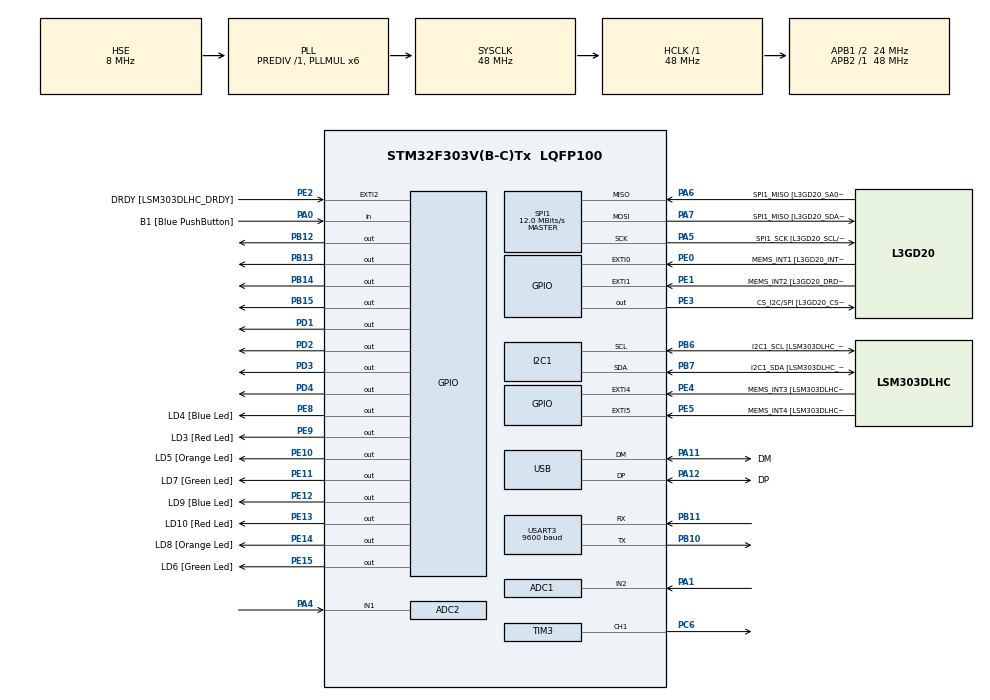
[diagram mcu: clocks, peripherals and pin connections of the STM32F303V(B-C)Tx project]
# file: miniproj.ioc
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ADC1.Channel-0\#ChannelRegularConversion=ADC_CHANNEL_2
ADC1.NbrOfConversionFlag=1
ADC1.Offset-0\#ChannelRegularConversion=0
ADC1.OffsetNumber-0\#ChannelRegularConversion=ADC_OFFSET_NONE
ADC1.Rank-0\#ChannelRegularConversion=1
ADC1.SamplingTime-0\#ChannelRegularConversion=ADC_SAMPLETIME_601CYCLES_5
ADC1.SamplingTimeOPAMP-0\#ChannelRegularConversion=ADC_SAMPLETIME_19CYCLES_5
ADC1.master=1
ADC2.Channel-0\#ChannelRegularConversion=ADC_CHANNEL_1
ADC2.NbrOfConversionFlag=1
ADC2.Offset-0\#ChannelRegularConversion=0
ADC2.OffsetNumber-0\#ChannelRegularConversion=ADC_OFFSET_NONE
ADC2.Rank-0\#ChannelRegularConversion=1
ADC2.SamplingTime-0\#ChannelRegularConversion=ADC_SAMPLETIME_601CYCLES_5
ADC2.SamplingTimeOPAMP-0\#ChannelRegularConversion=ADC_SAMPLETIME_19CYCLES_5
I2C1.Timing-I2C=0x2000090E
Mcu.Family=STM32F3
Mcu.Name=STM32F303V(B-C)Tx
Mcu.Package=LQFP100
NVIC.ADC1_2_IRQn=true\:0\:1\:true\:false\:true\:true\:true\:true
NVIC.PriorityGroup=NVIC_PRIORITYGROUP_2
NVIC.TIM2_IRQn=true\:0\:0\:true\:false\:true\:true\:true\:true
NVIC.TIM4_IRQn=true\:0\:0\:false\:false\:true\:true\:true\:true
NVIC.USART3_IRQn=true\:0\:2\:false\:false\:true\:true\:true\:true
PA0.GPIO_Label=B1 [Blue PushButton]
PA0.Signal=GPIO_Input
PA1.Mode=IN2-Single-Ended
PA1.Signal=ADC1_IN2
PA11.GPIO_Label=DM
PA11.Mode=Device
PA11.Signal=USB_DM
PA12.GPIO_Label=DP
PA12.Mode=Device
PA12.Signal=USB_DP
PA13.GPIO_Label=SWDIO
PA13.Mode=Serial_Wire
PA13.Signal=SYS_JTMS-SWDIO
PA14.GPIO_Label=SWCLK
PA14.Mode=Serial_Wire
PA14.Signal=SYS_JTCK-SWCLK
PA4.Mode=IN1-Single-Ended
PA4.Signal=ADC2_IN1
PA5.GPIO_Label=SPI1_SCK [L3GD20_SCL/SPC]
PA5.Mode=Full_Duplex_Master
PA5.Signal=SPI1_SCK
PA6.GPIO_Label=SPI1_MISO [L3GD20_SA0/SDO]
PA6.Mode=Full_Duplex_Master
PA6.Signal=SPI1_MISO
PA7.GPIO_Label=SPI1_MISO [L3GD20_SDA/SDI/SDO]
PA7.Mode=Full_Duplex_Master
PA7.Signal=SPI1_MOSI
PB10.Mode=Asynchronous
PB10.Signal=USART3_TX
PB11.Mode=Asynchronous
PB11.Signal=USART3_RX
PB12.Signal=GPIO_Output
PB13.Signal=GPIO_Output
PB14.Signal=GPIO_Output
PB15.Signal=GPIO_Output
PB3.GPIO_Label=SWO
PB3.Signal=SYS_JTDO-TRACESWO
PB6.GPIO_Label=I2C1_SCL [LSM303DLHC_SCL]
PB6.GPIO_Pu=GPIO_PULLUP
PB6.Mode=I2C
PB6.Signal=I2C1_SCL
PB7.GPIO_Label=I2C1_SDA [LSM303DLHC_SDA]
PB7.GPIO_Pu=GPIO_PULLUP
PB7.Mode=I2C
PB7.Signal=I2C1_SDA
PC14-OSC32_IN.GPIO_Label=OSC32_IN
PC14-OSC32_IN.Signal=RCC_OSC32_IN
PC15-OSC32_OUT.GPIO_Label=OSC32_OUT
PC15-OSC32_OUT.Signal=RCC_OSC32_OUT
PC6.Signal=S_TIM3_CH1
PD1.Signal=GPIO_Output
PD2.Signal=GPIO_Output
PD3.Signal=GPIO_Output
PD4.Signal=GPIO_Output
PE0.GPIO_Label=MEMS_INT1 [L3GD20_INT1]
PE0.GPIO_ModeDefaultEXTI=GPIO_MODE_EVT_RISING
PE0.Signal=GPXTI0
PE1.GPIO_Label=MEMS_INT2 [L3GD20_DRDY/INT2]
PE1.GPIO_ModeDefaultEXTI=GPIO_MODE_EVT_RISING
PE1.Signal=GPXTI1
PE10.GPIO_Label=LD5 [Orange Led]
PE10.Signal=GPIO_Output
PE11.GPIO_Label=LD7 [Green Led]
PE11.Signal=GPIO_Output
PE12.GPIO_Label=LD9 [Blue Led]
PE12.Signal=GPIO_Output
PE13.GPIO_Label=LD10 [Red Led]
PE13.Signal=GPIO_Output
PE14.GPIO_Label=LD8 [Orange Led]
PE14.Signal=GPIO_Output
PE15.GPIO_Label=LD6 [Green Led]
PE15.Signal=GPIO_Output
PE2.GPIO_Label=DRDY [LSM303DLHC_DRDY]
PE2.GPIO_ModeDefaultEXTI=GPIO_MODE_EVT_RISING
PE2.Signal=GPXTI2
PE3.GPIO_Label=CS_I2C/SPI [L3GD20_CS_I2C/SPI]
PE3.Signal=GPIO_Output
PE4.GPIO_Label=MEMS_INT3 [LSM303DLHC_INT1]
PE4.GPIO_ModeDefaultEXTI=GPIO_MODE_EVT_RISING
PE4.Signal=GPXTI4
PE5.GPIO_Label=MEMS_INT4 [LSM303DLHC_INT2]
PE5.GPIO_ModeDefaultEXTI=GPIO_MODE_EVT_RISING
PE5.Signal=GPXTI5
PE8.GPIO_Label=LD4 [Blue Led]
PE8.Signal=GPIO_Output
PE9.GPIO_Label=LD3 [Red Led]
PE9.Signal=GPIO_Output
PF0-OSC_IN.GPIO_Label=OSC_IN
PF0-OSC_IN.Mode=HSE-External-Clock-Source
PF0-OSC_IN.Signal=RCC_OSC_IN
PF1-OSC_OUT.GPIO_Label=OSC_OUT
PF1-OSC_OUT.Signal=RCC_OSC_OUT
ProjectManager.HeapSize=0x200
ProjectManager.StackSize=0x400
ProjectManager.TargetToolchain=STM32CubeIDE
RCC.AHBFreq_Value=48000000
RCC.APB1CLKDivider=RCC_HCLK_DIV2
RCC.APB1Freq_Value=24000000
RCC.APB1TimFreq_Value=48000000
RCC.APB2Freq_Value=48000000
RCC.APB2TimFreq_Value=48000000
RCC.CortexFreq_Value=48000000
RCC.HCLKFreq_Value=48000000
RCC.HSE_VALUE=8000000
RCC.HSI_VALUE=8000000
RCC.LSE_VALUE=32768
RCC.PLLMUL=RCC_PLL_MUL6
RCC.SYSCLKFreq_VALUE=48000000
RCC.SYSCLKSourceVirtual=RCC_SYSCLKSOURCE_PLLCLK
RCC.USBFreq_Value=48000000
SH.S_TIM3_CH1.0=TIM3_CH1,PWM Generation1 CH1
SPI1.BaudRatePrescaler=SPI_BAUDRATEPRESCALER_4
SPI1.BaudRatePrescaler-Full_Duplex_Master=SPI_BAUDRATEPRESCALER_2
SPI1.CalculateBaudRate=12.0 MBits/s
SPI1.CalculateBaudRate-Full_Duplex_Master=24.0 MBits/s
SPI1.Direction=SPI_DIRECTION_2LINES
SPI1.Mode=SPI_MODE_MASTER
SPI1.Mode-Full_Duplex_Master=SPI_MODE_MASTER
SPI1.VirtualType=VM_MASTER
TIM2.Period=99
TIM2.Prescaler=479
TIM3.Channel-PWM\ Generation1\ CH1=TIM_CHANNEL_1
TIM4.Period=1000 -1
TIM4.Prescaler=48 -1
USART3.BaudRate=9600
USART3.VirtualMode-Asynchronous=VM_ASYNC
VP_TIM2_VS_ClockSourceINT.Mode=Internal
VP_TIM3_VS_ClockSourceINT.Mode=Internal
VP_TIM4_VS_ClockSourceINT.Mode=Internal
board=STM32F3DISCOVERY

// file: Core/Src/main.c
/* USER CODE BEGIN Header */
/**
 ******************************************************************************
 * @file           : main.c
 * @brief          : Main program body
 ******************************************************************************
 * @attention
 *
 * Copyright (c) 2023 STMicroelectronics.
 * All rights reserved.
 *
 * This software is licensed under terms that can be found in the LICENSE file
 * in the root directory of this software component.
 * If no LICENSE file comes with this software, it is provided AS-IS.
 *
 ******************************************************************************
 */
/* USER CODE END Header */
#include "main.h"

/* USER CODE BEGIN Includes */
#include "stdio.h"
#include "stdlib.h"
#include "string.h"
#include "ctype.h"
#include "math.h"
/* USER CODE END Includes */

ADC_HandleTypeDef hadc1;
ADC_HandleTypeDef hadc2;

I2C_HandleTypeDef hi2c1;

SPI_HandleTypeDef hspi1;

TIM_HandleTypeDef htim2;
TIM_HandleTypeDef htim3;
TIM_HandleTypeDef htim4;

UART_HandleTypeDef huart3;

PCD_HandleTypeDef hpcd_USB_FS;

/* USER CODE BEGIN PV */
uint8_t ld=20;
uint8_t lm=32;
uint8_t ldthre;
uint8_t lmthre;
uint8_t pktb[6];
uint8_t pktlds[7];
uint8_t pktlms[7];
uint8_t pktbuffer[10];
uint8_t pkt;
uint8_t p = 0XBB;
uint8_t flag;
uint8_t contld;
uint8_t contlm;
//pkts[4]=0X11; //control
//pkts[5]=0X31; //buzzer type
//pkts[6]=0XC8; //low
//pkts[7]=0XFA; //high
//pkts[8]=0X0;  //high
int i = 0;
int count = 0;
int cnt = 0;
int len = 0;
int peak = 0;
int state = 1;
double time = 0;
uint16_t freq = 200;
uint16_t freql = 200;
uint16_t freqh = 4000;
/* USER CODE END PV */

void SystemClock_Config(void);
static void MX_GPIO_Init(void);
static void MX_I2C1_Init(void);
static void MX_SPI1_Init(void);
static void MX_USB_PCD_Init(void);
static void MX_ADC1_Init(void);
static void MX_TIM2_Init(void);
static void MX_TIM3_Init(void);
static void MX_TIM4_Init(void);
static void MX_ADC2_Init(void);
static void MX_USART3_UART_Init(void);

/* USER CODE BEGIN 0 */
TIM_HandleTypeDef *buzzerPwmTimer;
uint32_t buzzerPwmChannel;

void buzzerInit() {
	buzzerPwmTimer = &htim3;
	buzzerPwmChannel = TIM_CHANNEL_1;
	HAL_TIM_PWM_Start(buzzerPwmTimer, buzzerPwmChannel);
}

void buzzerChangeTone(uint16_t freq, uint16_t volume) {
	if (freq == 0 || freq > 20000) {
		__HAL_TIM_SET_COMPARE(buzzerPwmTimer, buzzerPwmChannel, 0);
	} else {
		const uint32_t internalClockFreq = HAL_RCC_GetSysClockFreq();
		const uint32_t prescaler = 1 + internalClockFreq / freq / 60000;
		const uint32_t timerClock = internalClockFreq / prescaler;
		const uint32_t periodCycles = timerClock / freq;
		const uint32_t pulseWidth = volume * periodCycles / 1000 / 2;

		buzzerPwmTimer->Instance->PSC = prescaler - 1;
		buzzerPwmTimer->Instance->ARR = periodCycles - 1;
		buzzerPwmTimer->Instance->EGR = TIM_EGR_UG;

		__HAL_TIM_SET_COMPARE(buzzerPwmTimer, buzzerPwmChannel, pulseWidth);
	}
}
/* USER CODE END 0 */

int main(void)
{

  /* MCU Configuration--------------------------------------------------------*/

  /* Reset of all peripherals, Initializes the Flash interface and the Systick. */
  HAL_Init();

  /* Configure the system clock */
  SystemClock_Config();

  /* Initialize all configured peripherals */
  MX_GPIO_Init();
  MX_I2C1_Init();
  MX_SPI1_Init();
  MX_USB_PCD_Init();
  MX_ADC1_Init();
  MX_TIM2_Init();
  MX_TIM3_Init();
  MX_TIM4_Init();
  MX_ADC2_Init();
  MX_USART3_UART_Init();
  /* USER CODE BEGIN 2 */
	buzzerInit();
	//  HAL_UART_Transmit(&huart3, p, sizeof(p),100);
	//  unsigned char hello[8] = "hello \n";
	//  HAL_UART_Transmit(&huart3, hello, sizeof(unsigned char) * 8, 1000);
	HAL_TIM_Base_Start_IT(&htim4);
	HAL_UART_Receive_IT(&huart3, &pkt, sizeof(pkt));

  /* USER CODE END 2 */

  /* Infinite loop */
	while (1) {

	}
}

void SystemClock_Config(void)
{
  RCC_OscInitTypeDef RCC_OscInitStruct = {0};
  RCC_ClkInitTypeDef RCC_ClkInitStruct = {0};
  RCC_PeriphCLKInitTypeDef PeriphClkInit = {0};

  /** Initializes the RCC Oscillators according to the specified parameters
  * in the RCC_OscInitTypeDef structure.
  */
  RCC_OscInitStruct.OscillatorType = RCC_OSCILLATORTYPE_HSI|RCC_OSCILLATORTYPE_HSE;
  RCC_OscInitStruct.HSEState = RCC_HSE_BYPASS;
  RCC_OscInitStruct.HSEPredivValue = RCC_HSE_PREDIV_DIV1;
  RCC_OscInitStruct.HSIState = RCC_HSI_ON;
  RCC_OscInitStruct.HSICalibrationValue = RCC_HSICALIBRATION_DEFAULT;
  RCC_OscInitStruct.PLL.PLLState = RCC_PLL_ON;
  RCC_OscInitStruct.PLL.PLLSource = RCC_PLLSOURCE_HSE;
  RCC_OscInitStruct.PLL.PLLMUL = RCC_PLL_MUL6;
  if (HAL_RCC_OscConfig(&RCC_OscInitStruct) != HAL_OK)
  {
    Error_Handler();
  }

  /** Initializes the CPU, AHB and APB buses clocks
  */
  RCC_ClkInitStruct.ClockType = RCC_CLOCKTYPE_HCLK|RCC_CLOCKTYPE_SYSCLK
                              |RCC_CLOCKTYPE_PCLK1|RCC_CLOCKTYPE_PCLK2;
  RCC_ClkInitStruct.SYSCLKSource = RCC_SYSCLKSOURCE_PLLCLK;
  RCC_ClkInitStruct.AHBCLKDivider = RCC_SYSCLK_DIV1;
  RCC_ClkInitStruct.APB1CLKDivider = RCC_HCLK_DIV2;
  RCC_ClkInitStruct.APB2CLKDivider = RCC_HCLK_DIV1;

  if (HAL_RCC_ClockConfig(&RCC_ClkInitStruct, FLASH_LATENCY_1) != HAL_OK)
  {
    Error_Handler();
  }
  PeriphClkInit.PeriphClockSelection = RCC_PERIPHCLK_USB|RCC_PERIPHCLK_USART3
                              |RCC_PERIPHCLK_I2C1|RCC_PERIPHCLK_ADC12;
  PeriphClkInit.Usart3ClockSelection = RCC_USART3CLKSOURCE_PCLK1;
  PeriphClkInit.Adc12ClockSelection = RCC_ADC12PLLCLK_DIV1;
  PeriphClkInit.I2c1ClockSelection = RCC_I2C1CLKSOURCE_HSI;
  PeriphClkInit.USBClockSelection = RCC_USBCLKSOURCE_PLL;
  if (HAL_RCCEx_PeriphCLKConfig(&PeriphClkInit) != HAL_OK)
  {
    Error_Handler();
  }
}

static void MX_ADC1_Init(void)
{

  ADC_MultiModeTypeDef multimode = {0};
  ADC_ChannelConfTypeDef sConfig = {0};

  /** Common config
  */
  hadc1.Instance = ADC1;
  hadc1.Init.ClockPrescaler = ADC_CLOCK_ASYNC_DIV1;
  hadc1.Init.Resolution = ADC_RESOLUTION_12B;
  hadc1.Init.ScanConvMode = ADC_SCAN_DISABLE;
  hadc1.Init.ContinuousConvMode = DISABLE;
  hadc1.Init.DiscontinuousConvMode = DISABLE;
  hadc1.Init.ExternalTrigConvEdge = ADC_EXTERNALTRIGCONVEDGE_NONE;
  hadc1.Init.ExternalTrigConv = ADC_SOFTWARE_START;
  hadc1.Init.DataAlign = ADC_DATAALIGN_RIGHT;
  hadc1.Init.NbrOfConversion = 1;
  hadc1.Init.DMAContinuousRequests = DISABLE;
  hadc1.Init.EOCSelection = ADC_EOC_SINGLE_CONV;
  hadc1.Init.LowPowerAutoWait = DISABLE;
  hadc1.Init.Overrun = ADC_OVR_DATA_OVERWRITTEN;
  if (HAL_ADC_Init(&hadc1) != HAL_OK)
  {
    Error_Handler();
  }

  /** Configure the ADC multi-mode
  */
  multimode.Mode = ADC_MODE_INDEPENDENT;
  if (HAL_ADCEx_MultiModeConfigChannel(&hadc1, &multimode) != HAL_OK)
  {
    Error_Handler();
  }

  /** Configure Regular Channel
  */
  sConfig.Channel = ADC_CHANNEL_2;
  sConfig.Rank = ADC_REGULAR_RANK_1;
  sConfig.SingleDiff = ADC_SINGLE_ENDED;
  sConfig.SamplingTime = ADC_SAMPLETIME_601CYCLES_5;
  sConfig.OffsetNumber = ADC_OFFSET_NONE;
  sConfig.Offset = 0;
  if (HAL_ADC_ConfigChannel(&hadc1, &sConfig) != HAL_OK)
  {
    Error_Handler();
  }

}

static void MX_ADC2_Init(void)
{

  ADC_ChannelConfTypeDef sConfig = {0};

  /** Common config
  */
  hadc2.Instance = ADC2;
  hadc2.Init.ClockPrescaler = ADC_CLOCK_ASYNC_DIV1;
  hadc2.Init.Resolution = ADC_RESOLUTION_12B;
  hadc2.Init.ScanConvMode = ADC_SCAN_DISABLE;
  hadc2.Init.ContinuousConvMode = DISABLE;
  hadc2.Init.DiscontinuousConvMode = DISABLE;
  hadc2.Init.ExternalTrigConvEdge = ADC_EXTERNALTRIGCONVEDGE_NONE;
  hadc2.Init.ExternalTrigConv = ADC_SOFTWARE_START;
  hadc2.Init.DataAlign = ADC_DATAALIGN_RIGHT;
  hadc2.Init.NbrOfConversion = 1;
  hadc2.Init.DMAContinuousRequests = DISABLE;
  hadc2.Init.EOCSelection = ADC_EOC_SINGLE_CONV;
  hadc2.Init.LowPowerAutoWait = DISABLE;
  hadc2.Init.Overrun = ADC_OVR_DATA_OVERWRITTEN;
  if (HAL_ADC_Init(&hadc2) != HAL_OK)
  {
    Error_Handler();
  }

  /** Configure Regular Channel
  */
  sConfig.Channel = ADC_CHANNEL_1;
  sConfig.Rank = ADC_REGULAR_RANK_1;
  sConfig.SingleDiff = ADC_SINGLE_ENDED;
  sConfig.SamplingTime = ADC_SAMPLETIME_601CYCLES_5;
  sConfig.OffsetNumber = ADC_OFFSET_NONE;
  sConfig.Offset = 0;
  if (HAL_ADC_ConfigChannel(&hadc2, &sConfig) != HAL_OK)
  {
    Error_Handler();
  }

}

static void MX_I2C1_Init(void)
{

  hi2c1.Instance = I2C1;
  hi2c1.Init.Timing = 0x2000090E;
  hi2c1.Init.OwnAddress1 = 0;
  hi2c1.Init.AddressingMode = I2C_ADDRESSINGMODE_7BIT;
  hi2c1.Init.DualAddressMode = I2C_DUALADDRESS_DISABLE;
  hi2c1.Init.OwnAddress2 = 0;
  hi2c1.Init.OwnAddress2Masks = I2C_OA2_NOMASK;
  hi2c1.Init.GeneralCallMode = I2C_GENERALCALL_DISABLE;
  hi2c1.Init.NoStretchMode = I2C_NOSTRETCH_DISABLE;
  if (HAL_I2C_Init(&hi2c1) != HAL_OK)
  {
    Error_Handler();
  }

  /** Configure Analogue filter
  */
  if (HAL_I2CEx_ConfigAnalogFilter(&hi2c1, I2C_ANALOGFILTER_ENABLE) != HAL_OK)
  {
    Error_Handler();
  }

  /** Configure Digital filter
  */
  if (HAL_I2CEx_ConfigDigitalFilter(&hi2c1, 0) != HAL_OK)
  {
    Error_Handler();
  }

}

static void MX_SPI1_Init(void)
{

  /* SPI1 parameter configuration*/
  hspi1.Instance = SPI1;
  hspi1.Init.Mode = SPI_MODE_MASTER;
  hspi1.Init.Direction = SPI_DIRECTION_2LINES;
  hspi1.Init.DataSize = SPI_DATASIZE_4BIT;
  hspi1.Init.CLKPolarity = SPI_POLARITY_LOW;
  hspi1.Init.CLKPhase = SPI_PHASE_1EDGE;
  hspi1.Init.NSS = SPI_NSS_SOFT;
  hspi1.Init.BaudRatePrescaler = SPI_BAUDRATEPRESCALER_4;
  hspi1.Init.FirstBit = SPI_FIRSTBIT_MSB;
  hspi1.Init.TIMode = SPI_TIMODE_DISABLE;
  hspi1.Init.CRCCalculation = SPI_CRCCALCULATION_DISABLE;
  hspi1.Init.CRCPolynomial = 7;
  hspi1.Init.CRCLength = SPI_CRC_LENGTH_DATASIZE;
  hspi1.Init.NSSPMode = SPI_NSS_PULSE_ENABLE;
  if (HAL_SPI_Init(&hspi1) != HAL_OK)
  {
    Error_Handler();
  }

}

static void MX_TIM2_Init(void)
{

  TIM_ClockConfigTypeDef sClockSourceConfig = {0};
  TIM_MasterConfigTypeDef sMasterConfig = {0};

  htim2.Instance = TIM2;
  htim2.Init.Prescaler = 479;
  htim2.Init.CounterMode = TIM_COUNTERMODE_UP;
  htim2.Init.Period = 99;
  htim2.Init.ClockDivision = TIM_CLOCKDIVISION_DIV1;
  htim2.Init.AutoReloadPreload = TIM_AUTORELOAD_PRELOAD_DISABLE;
  if (HAL_TIM_Base_Init(&htim2) != HAL_OK)
  {
    Error_Handler();
  }
  sClockSourceConfig.ClockSource = TIM_CLOCKSOURCE_INTERNAL;
  if (HAL_TIM_ConfigClockSource(&htim2, &sClockSourceConfig) != HAL_OK)
  {
    Error_Handler();
  }
  sMasterConfig.MasterOutputTrigger = TIM_TRGO_RESET;
  sMasterConfig.MasterSlaveMode = TIM_MASTERSLAVEMODE_DISABLE;
  if (HAL_TIMEx_MasterConfigSynchronization(&htim2, &sMasterConfig) != HAL_OK)
  {
    Error_Handler();
  }

}

static void MX_TIM3_Init(void)
{

  TIM_ClockConfigTypeDef sClockSourceConfig = {0};
  TIM_MasterConfigTypeDef sMasterConfig = {0};
  TIM_OC_InitTypeDef sConfigOC = {0};

  htim3.Instance = TIM3;
  htim3.Init.Prescaler = 0;
  htim3.Init.CounterMode = TIM_COUNTERMODE_UP;
  htim3.Init.Period = 65535;
  htim3.Init.ClockDivision = TIM_CLOCKDIVISION_DIV1;
  htim3.Init.AutoReloadPreload = TIM_AUTORELOAD_PRELOAD_DISABLE;
  if (HAL_TIM_Base_Init(&htim3) != HAL_OK)
  {
    Error_Handler();
  }
  sClockSourceConfig.ClockSource = TIM_CLOCKSOURCE_INTERNAL;
  if (HAL_TIM_ConfigClockSource(&htim3, &sClockSourceConfig) != HAL_OK)
  {
    Error_Handler();
  }
  if (HAL_TIM_PWM_Init(&htim3) != HAL_OK)
  {
    Error_Handler();
  }
  sMasterConfig.MasterOutputTrigger = TIM_TRGO_RESET;
  sMasterConfig.MasterSlaveMode = TIM_MASTERSLAVEMODE_DISABLE;
  if (HAL_TIMEx_MasterConfigSynchronization(&htim3, &sMasterConfig) != HAL_OK)
  {
    Error_Handler();
  }
  sConfigOC.OCMode = TIM_OCMODE_PWM1;
  sConfigOC.Pulse = 0;
  sConfigOC.OCPolarity = TIM_OCPOLARITY_HIGH;
  sConfigOC.OCFastMode = TIM_OCFAST_DISABLE;
  if (HAL_TIM_PWM_ConfigChannel(&htim3, &sConfigOC, TIM_CHANNEL_1) != HAL_OK)
  {
    Error_Handler();
  }
  HAL_TIM_MspPostInit(&htim3);

}

static void MX_TIM4_Init(void)
{

  TIM_ClockConfigTypeDef sClockSourceConfig = {0};
  TIM_MasterConfigTypeDef sMasterConfig = {0};

  htim4.Instance = TIM4;
  htim4.Init.Prescaler = 48 -1;
  htim4.Init.CounterMode = TIM_COUNTERMODE_UP;
  htim4.Init.Period = 1000 -1;
  htim4.Init.ClockDivision = TIM_CLOCKDIVISION_DIV1;
  htim4.Init.AutoReloadPreload = TIM_AUTORELOAD_PRELOAD_DISABLE;
  if (HAL_TIM_Base_Init(&htim4) != HAL_OK)
  {
    Error_Handler();
  }
  sClockSourceConfig.ClockSource = TIM_CLOCKSOURCE_INTERNAL;
  if (HAL_TIM_ConfigClockSource(&htim4, &sClockSourceConfig) != HAL_OK)
  {
    Error_Handler();
  }
  sMasterConfig.MasterOutputTrigger = TIM_TRGO_RESET;
  sMasterConfig.MasterSlaveMode = TIM_MASTERSLAVEMODE_DISABLE;
  if (HAL_TIMEx_MasterConfigSynchronization(&htim4, &sMasterConfig) != HAL_OK)
  {
    Error_Handler();
  }

}

static void MX_USART3_UART_Init(void)
{

  huart3.Instance = USART3;
  huart3.Init.BaudRate = 9600;
  huart3.Init.WordLength = UART_WORDLENGTH_8B;
  huart3.Init.StopBits = UART_STOPBITS_1;
  huart3.Init.Parity = UART_PARITY_NONE;
  huart3.Init.Mode = UART_MODE_TX_RX;
  huart3.Init.HwFlowCtl = UART_HWCONTROL_NONE;
  huart3.Init.OverSampling = UART_OVERSAMPLING_16;
  huart3.Init.OneBitSampling = UART_ONE_BIT_SAMPLE_DISABLE;
  huart3.AdvancedInit.AdvFeatureInit = UART_ADVFEATURE_NO_INIT;
  if (HAL_UART_Init(&huart3) != HAL_OK)
  {
    Error_Handler();
  }

}

static void MX_USB_PCD_Init(void)
{

  hpcd_USB_FS.Instance = USB;
  hpcd_USB_FS.Init.dev_endpoints = 8;
  hpcd_USB_FS.Init.speed = PCD_SPEED_FULL;
  hpcd_USB_FS.Init.phy_itface = PCD_PHY_EMBEDDED;
  hpcd_USB_FS.Init.low_power_enable = DISABLE;
  hpcd_USB_FS.Init.battery_charging_enable = DISABLE;
  if (HAL_PCD_Init(&hpcd_USB_FS) != HAL_OK)
  {
    Error_Handler();
  }

}

static void MX_GPIO_Init(void)
{
  GPIO_InitTypeDef GPIO_InitStruct = {0};

  /* GPIO Ports Clock Enable */
  __HAL_RCC_GPIOE_CLK_ENABLE();
  __HAL_RCC_GPIOC_CLK_ENABLE();
  __HAL_RCC_GPIOF_CLK_ENABLE();
  __HAL_RCC_GPIOA_CLK_ENABLE();
  __HAL_RCC_GPIOB_CLK_ENABLE();
  __HAL_RCC_GPIOD_CLK_ENABLE();

  /*Configure GPIO pin Output Level */
  HAL_GPIO_WritePin(GPIOE, CS_I2C_SPI_Pin|LD4_Pin|LD3_Pin|LD5_Pin
                          |LD7_Pin|LD9_Pin|LD10_Pin|LD8_Pin
                          |LD6_Pin, GPIO_PIN_RESET);

  /*Configure GPIO pin Output Level */
  HAL_GPIO_WritePin(GPIOB, GPIO_PIN_12|GPIO_PIN_13|GPIO_PIN_14|GPIO_PIN_15, GPIO_PIN_RESET);

  /*Configure GPIO pin Output Level */
  HAL_GPIO_WritePin(GPIOD, GPIO_PIN_1|GPIO_PIN_2|GPIO_PIN_3|GPIO_PIN_4, GPIO_PIN_RESET);

  /*Configure GPIO pins : DRDY_Pin MEMS_INT3_Pin MEMS_INT4_Pin MEMS_INT1_Pin
                           MEMS_INT2_Pin */
  GPIO_InitStruct.Pin = DRDY_Pin|MEMS_INT3_Pin|MEMS_INT4_Pin|MEMS_INT1_Pin
                          |MEMS_INT2_Pin;
  GPIO_InitStruct.Mode = GPIO_MODE_EVT_RISING;
  GPIO_InitStruct.Pull = GPIO_NOPULL;
  HAL_GPIO_Init(GPIOE, &GPIO_InitStruct);

  /*Configure GPIO pins : CS_I2C_SPI_Pin LD4_Pin LD3_Pin LD5_Pin
                           LD7_Pin LD9_Pin LD10_Pin LD8_Pin
                           LD6_Pin */
  GPIO_InitStruct.Pin = CS_I2C_SPI_Pin|LD4_Pin|LD3_Pin|LD5_Pin
                          |LD7_Pin|LD9_Pin|LD10_Pin|LD8_Pin
                          |LD6_Pin;
  GPIO_InitStruct.Mode = GPIO_MODE_OUTPUT_PP;
  GPIO_InitStruct.Pull = GPIO_NOPULL;
  GPIO_InitStruct.Speed = GPIO_SPEED_FREQ_LOW;
  HAL_GPIO_Init(GPIOE, &GPIO_InitStruct);

  /*Configure GPIO pin : B1_Pin */
  GPIO_InitStruct.Pin = B1_Pin;
  GPIO_InitStruct.Mode = GPIO_MODE_INPUT;
  GPIO_InitStruct.Pull = GPIO_NOPULL;
  HAL_GPIO_Init(B1_GPIO_Port, &GPIO_InitStruct);

  /*Configure GPIO pins : PB12 PB13 PB14 PB15 */
  GPIO_InitStruct.Pin = GPIO_PIN_12|GPIO_PIN_13|GPIO_PIN_14|GPIO_PIN_15;
  GPIO_InitStruct.Mode = GPIO_MODE_OUTPUT_PP;
  GPIO_InitStruct.Pull = GPIO_NOPULL;
  GPIO_InitStruct.Speed = GPIO_SPEED_FREQ_LOW;
  HAL_GPIO_Init(GPIOB, &GPIO_InitStruct);

  /*Configure GPIO pins : PD1 PD2 PD3 PD4 */
  GPIO_InitStruct.Pin = GPIO_PIN_1|GPIO_PIN_2|GPIO_PIN_3|GPIO_PIN_4;
  GPIO_InitStruct.Mode = GPIO_MODE_OUTPUT_PP;
  GPIO_InitStruct.Pull = GPIO_NOPULL;
  GPIO_InitStruct.Speed = GPIO_SPEED_FREQ_LOW;
  HAL_GPIO_Init(GPIOD, &GPIO_InitStruct);

}

/* USER CODE BEGIN 4 */
void numToBcd(int i) {
	if (i > 10) i = 0;
	int x1 = i & 1;
	int x2 = i & 2;
	int x3 = i & 4;
	int x4 = i & 8;
	if (x1 > 0)
		x1 = 1;
	if (x2 > 0)
		x2 = 1;
	if (x3 > 0)
		x3 = 1;
	if (x4 > 0)
		x4 = 1;
	HAL_GPIO_WritePin(GPIOD, GPIO_PIN_1, x2); //B
	HAL_GPIO_WritePin(GPIOD, GPIO_PIN_2, x3); //C
	HAL_GPIO_WritePin(GPIOD, GPIO_PIN_3, x4); //D
	HAL_GPIO_WritePin(GPIOD, GPIO_PIN_4, x1); //A
}
void HAL_TIM_PeriodElapsedCallback(TIM_HandleTypeDef *htim) {
	if (htim->Instance == TIM4) {
		count++;
		if (count > 1000) {
			HAL_ADC_Start_IT(&hadc1);
			HAL_ADC_Start_IT(&hadc2);
			count = 0;
			pktlds[0] = 0XAA; //preamable
			pktlds[1] = 0X01; //src
			pktlds[2] = 0X02; //dst
			pktlds[3] = 0X02;
			pktlds[4] = 0X21;
			pktlds[5] = ld;
			pktlds[6] = 0X00;

			pktlms[0] = 0XAA; //preamable
			pktlms[1] = 0X01; //src
			pktlms[2] = 0X02; //dst
			pktlms[3] = 0X02;
			pktlms[4] = 0X22;
			pktlms[5] = lm;
			pktlms[6] = 0X00;
//			HAL_UART_Transmit(&huart3, pktlds, sizeof(pktlds), 100);
//			HAL_UART_Transmit(&huart3, pktlms, sizeof(pktlms), 100);
		}

		switch (cnt) {
		case 0:
			HAL_GPIO_WritePin(GPIOB, GPIO_PIN_14 | GPIO_PIN_12 | GPIO_PIN_15, 0);
			HAL_GPIO_WritePin(GPIOB, GPIO_PIN_13, 1);
			numToBcd(ld % 10);
			//					    numToBcd(6);
			cnt++;
			break;
		case 1:
			HAL_GPIO_WritePin(GPIOB, GPIO_PIN_15 | GPIO_PIN_14 | GPIO_PIN_13, 0);
			HAL_GPIO_WritePin(GPIOB, GPIO_PIN_12, 1);
			numToBcd((ld / 10) % 10);
			//						numToBcd(8);
			cnt++;

			break;
		case 2:
			HAL_GPIO_WritePin(GPIOB, GPIO_PIN_15 | GPIO_PIN_13 | GPIO_PIN_12, 0);
			HAL_GPIO_WritePin(GPIOB, GPIO_PIN_14, 1);
			numToBcd(lm % 10);
			//						numToBcd(8);
			cnt++;
			break;
		case 3:
			HAL_GPIO_WritePin(GPIOB, GPIO_PIN_13 | GPIO_PIN_14 | GPIO_PIN_12, 0);
			HAL_GPIO_WritePin(GPIOB, GPIO_PIN_15, 1);
			numToBcd((lm / 10) % 10);
			//						numToBcd(8);
			cnt = 0;
			break;
		}
		if (ld < ldthre || lm > lmthre) {
			if (flag == 0X31) {
				peak++;
				if (peak == 100) {
					if (state == 1)
						state = -1;
					else if (state == -1)
						state = 1;
					peak = 0;
					if (state == 1) {
						buzzerChangeTone(freqh, 20);
					} else if (state == -1) {
						buzzerChangeTone(freql, 20);
					}
				} else if (flag == 0X32) {
					freq += 70;
					if (freq >= freqh) {
						freq = freql;
					}
					buzzerChangeTone(freq, 20);
				} else if (flag == 0X33) {
					time += 100;
					freq = 190 * sin(2 * M_PI / 3800 * time) + 210;
					//value=sin(2 * M_PI * time );
					buzzerChangeTone(freq, 20);
					if (freq >= freqh) {
						freq = freql;
						time = 0;
					}
				}
			}
		}
	}
}
void HAL_ADC_ConvCpltCallback(ADC_HandleTypeDef *hadc) {
	if (hadc->Instance == ADC1) {
		//    	LDR
		int x = HAL_ADC_GetValue(&hadc1);
		ld = (x * 99 / 4095);
	}
	if (hadc->Instance == ADC2) {
		//    	LM35
		int l = HAL_ADC_GetValue(&hadc2);
		lm = (l * 3300 / 40950);
	}
}
void HAL_UART_RxCpltCallback(UART_HandleTypeDef *huart) {
	if (huart->Instance == USART3) {
		if (pkt == 0XAA) {
			i = 0;
			for (int i = 0; i < 10; i++) {
				pktbuffer[i] = 0; // set each element to 0
			}
			pktbuffer[i] = pkt;
			i++;
		} else {
			if (pkt == 0X01 && i == 1) {
				pktbuffer[i] = pkt;
				i++;
			}
			else if (pkt == 0X02 && i == 2) {
				pktbuffer[i] = pkt;
				i++;
			}
			else if (pkt == 0X04 && i == 3) {
				pktbuffer[i] = pkt;
				i++;
			}
			else if (pkt == 0X11 && i == 4 && pktbuffer[3] == 0X04) {
				pktbuffer[i] = pkt;
				i++;
			}
			else if (pkt == 0X31 && i == 5 && pktbuffer[4] == 0X11) {
				HAL_GPIO_WritePin(GPIOE, GPIO_PIN_8, 1);
				pktbuffer[i] = pkt;
				flag = pkt;
				i++;
			}
			else if (pkt == 0X32 && i == 5 && pktbuffer[4] == 0X11) {
				HAL_GPIO_WritePin(GPIOE, GPIO_PIN_9, 1);
				pktbuffer[i] = pkt;
				flag = pkt;
				i++;
			}
			else if (pkt == 0X33 && i == 5 && pktbuffer[4] == 0X11) {
				HAL_GPIO_WritePin(GPIOE, GPIO_PIN_10, 1);
				pktbuffer[i] = pkt;
				flag = pkt;
				i++;
			}
			else if (i == 6 && (pktbuffer[5] == 0X31 || pktbuffer[5] == 0X32	|| pktbuffer[5] == 0X33)) { //low
				pktbuffer[i] = pkt;
				freql = pkt;
				i++;
			}
			else if (i == 7) { //high
				pktbuffer[i] = pkt;
				freqh = pkt;
				i++;
			}
			else if (pkt == 0X00 && i == 8) { //crc
				pktbuffer[i] = pkt;
				i = 0;
			}
			else if (pkt == 0X02 && i == 3) {
				pktbuffer[i] = pkt;
				i++;
			}
			else if (pkt == 0X41 && i == 4 && pktbuffer[3] == 0X02) { //control lm
				pktbuffer[i] = pkt;
				i++;
			}
			else if (i == 5 && pktbuffer[4] == 0X41) { //thre lm
				lmthre = pkt;
				pktbuffer[i] = pkt;
				i++;
			}
			else if (pkt == 0X42 && i == 4 && pktbuffer[3] == 0X02) { //control ld
				pktbuffer[i] = pkt;
				i++;
			}
			else if (i == 5 && pktbuffer[4] == 0X42) { //thre ld
				ldthre = pkt;
				pktbuffer[i] = pkt;
				i++;
			}
			else if (pkt == 0X00 && i == 6) { //crc
				pktbuffer[i] = pkt;
				i = 0;
			}
		}
		HAL_UART_Receive_IT(&huart3, &pkt, sizeof(pkt));
	}
}
/* USER CODE END 4 */

void Error_Handler(void)
{
	__disable_irq();
	while (1) {
	}
}
